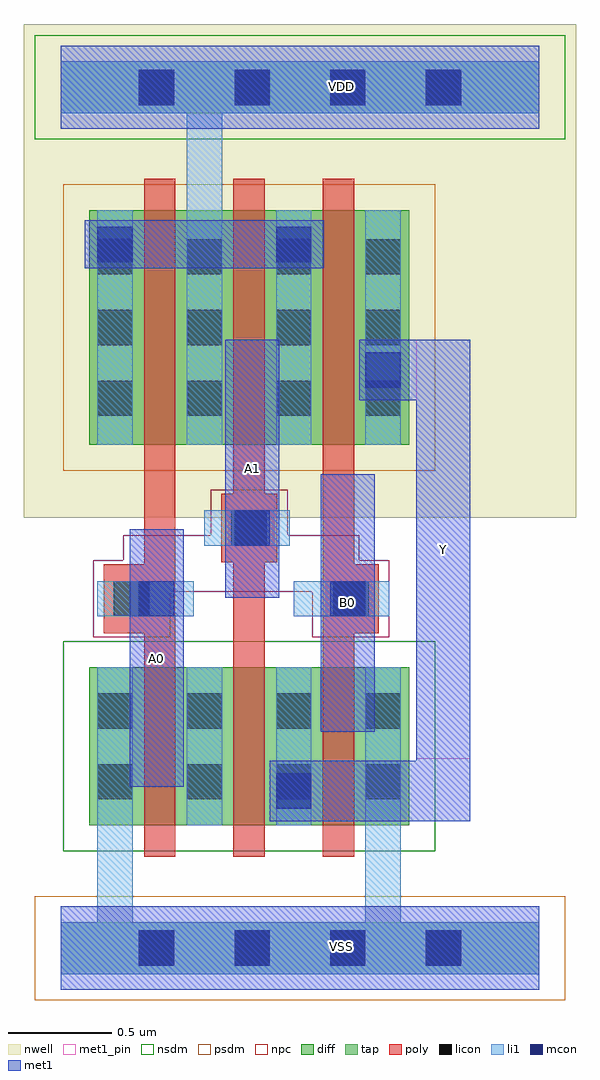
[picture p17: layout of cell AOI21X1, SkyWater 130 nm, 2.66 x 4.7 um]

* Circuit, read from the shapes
.subckt AOI21X1 A0 A1 B0 VDD VSS Y
XM1 n1 A0 VSS VSS sky130_fd_pr__nfet_01v8 w=0.76 l=0.15
XM2 Y A1 n1 VSS sky130_fd_pr__nfet_01v8 w=0.76 l=0.15
XM3 VSS B0 Y VSS sky130_fd_pr__nfet_01v8 w=0.76 l=0.15
XM4 VDD A0 n2 VDD sky130_fd_pr__pfet_01v8 w=1.13 l=0.15
XM5 n2 A1 VDD VDD sky130_fd_pr__pfet_01v8 w=1.13 l=0.15
XM6 Y B0 n2 VDD sky130_fd_pr__pfet_01v8 w=1.13 l=0.15
.ends

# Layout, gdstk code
import gdstk
lib = gdstk.Library(unit=1e-6, precision=1e-09)
def R(c, l, rs):  # rectangles x0, y0, x1, y1
    for r in rs: c.add(gdstk.rectangle(r[:2], r[2:], *l))
def A(c, l, x, y, w, h, nx, ny, dx, dy):  # array of equal rectangles
    R(c, l, [(x+i*dx, y+j*dy, x+i*dx+w, y+j*dy+h) for i in range(nx) for j in range(ny)])
nwell = (64, 20)
diff = (65, 20)
tap = (65, 44)
poly = (66, 20)
licon = (66, 44)
li1 = (67, 20)
mcon = (67, 44)
met1_pin = (68, 16)
met1 = (68, 20)
nsdm = (93, 44)
psdm = (94, 20)
npc = (95, 20)

aoi21x1 = lib.new_cell('AOI21X1')
R(aoi21x1, nwell, [(-0.18,2.07,2.48,4.445)])
R(aoi21x1, diff, [(0.135,0.59,1.675,1.35), (0.135,2.42,1.675,3.55)])
R(aoi21x1, tap, [(0,-0.125,2.3,0.125), (0,4.015,2.3,4.265)])
R(aoi21x1, poly, [(0.4,0.44,0.55,1.515), (0.83,0.44,0.98,1.855), (1.26,0.44,1.41,1.515), (0.205,1.515,0.55,1.845), (1.26,1.515,1.53,1.845), (0.4,1.845,0.55,3.7), (1.26,1.845,1.41,3.7), (0.77,1.855,1.04,2.185), (0.83,2.185,0.98,3.7)])
A(aoi21x1, licon, 0.375, -0.085, 0.17, 0.17, 4, 2, 0.46, 4.14)
A(aoi21x1, licon, 0.175, 0.715, 0.17, 0.17, 4, 2, 0.43, 0.34)
A(aoi21x1, licon, 0.175, 2.56, 0.17, 0.17, 4, 3, 0.43, 0.34)
R(aoi21x1, licon, [(0.255,1.595,0.425,1.765), (1.31,1.595,1.48,1.765), (0.82,1.935,0.99,2.105)])
R(aoi21x1, li1, [(0,-0.125,2.3,0.125), (0.175,0.125,0.345,1.35), (1.465,0.125,1.635,1.35), (0.605,0.59,0.775,1.35), (1.035,0.59,1.205,1.35), (0.175,1.595,0.64,1.765), (1.12,1.595,1.58,1.765), (0.69,1.935,1.1,2.105), (0.175,2.42,0.345,3.55), (0.605,2.42,0.775,4.015), (1.035,2.42,1.205,3.55), (1.465,2.42,1.635,3.55), (0,4.015,2.3,4.265)])
A(aoi21x1, mcon, 0.375, -0.085, 0.17, 0.17, 4, 2, 0.46, 4.14)
R(aoi21x1, mcon, [(1.035,0.67,1.205,0.84), (0.375,1.595,0.545,1.765), (1.295,1.595,1.465,1.765), (0.835,1.935,1.005,2.105), (1.465,2.695,1.635,2.865), (0.175,3.3,0.345,3.47), (1.035,3.3,1.205,3.47)])
R(aoi21x1, met1_pin, [(0.33,0.775,0.59,2.015), (1.71,0.91,1.97,2.925), (1.25,1.04,1.51,2.28), (0.79,1.685,1.05,2.925)])
R(aoi21x1, met1, [(0,-0.2,2.3,0.2), (1.005,0.61,1.97,0.9), (0.33,0.775,0.59,2.015), (1.71,0.9,1.97,2.635), (1.25,1.04,1.51,2.28), (0.79,1.685,1.05,2.925), (1.435,2.635,1.97,2.925), (0.115,3.27,1.265,3.5), (0,3.94,2.3,4.34)])
R(aoi21x1, nsdm, [(0.01,0.465,1.8,1.475), (-0.125,3.89,2.425,4.39)])
R(aoi21x1, psdm, [(-0.125,-0.25,2.425,0.25), (0.01,2.295,1.8,3.675)])
R(aoi21x1, npc, [(0.155,1.495,0.525,1.715), (1.21,1.495,1.58,1.715), (0.155,1.715,1.58,1.865), (0.3,1.865,1.435,1.985), (0.72,1.985,1.09,2.205)])
aoi21x1.add(gdstk.Label('VDD', (1.35,4.145), layer=68, texttype=5))
aoi21x1.add(gdstk.Label('VSS', (1.35,0.005), layer=68, texttype=5))
aoi21x1.add(gdstk.Label('B0', (1.38,1.66), layer=68, texttype=5))
aoi21x1.add(gdstk.Label('Y', (1.84,1.917), layer=68, texttype=5))
aoi21x1.add(gdstk.Label('A1', (0.92,2.305), layer=68, texttype=5))
aoi21x1.add(gdstk.Label('A0', (0.46,1.395), layer=68, texttype=5))

lib.write_gds('AOI21X1.gds')
